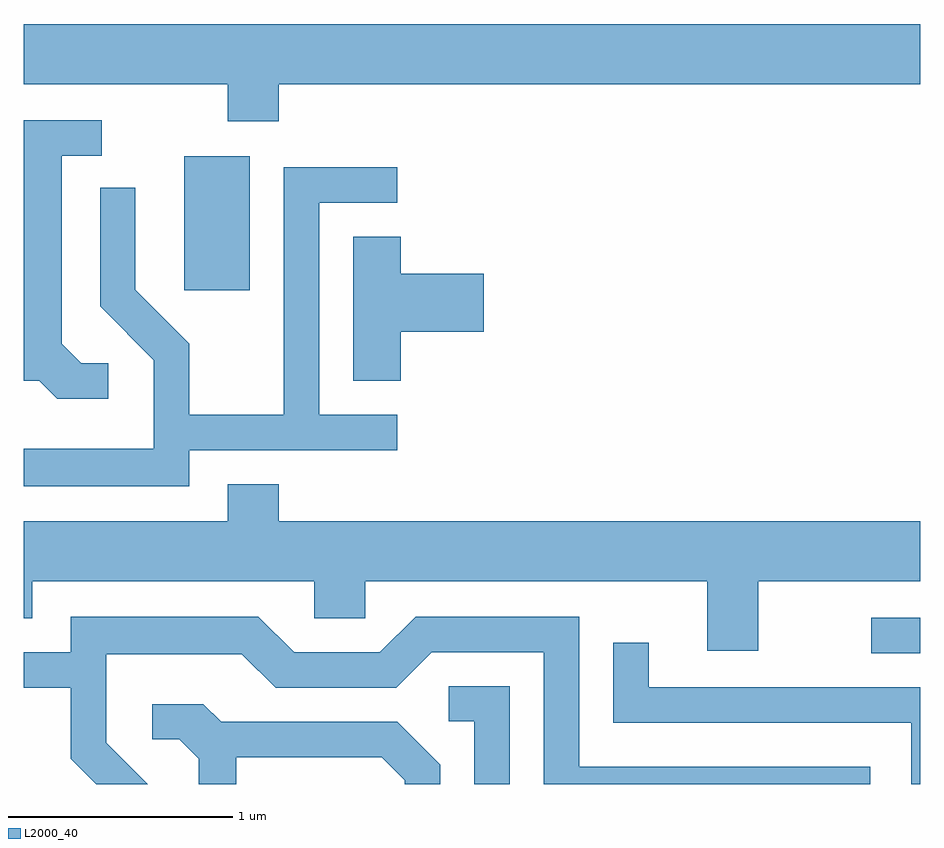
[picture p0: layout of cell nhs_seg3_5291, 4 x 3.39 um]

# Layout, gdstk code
import gdstk
lib = gdstk.Library(unit=1e-6, precision=1e-09)
def R(c, l, rs):  # rectangles x0, y0, x1, y1
    for r in rs: c.add(gdstk.rectangle(r[:2], r[2:], *l))
def P(c, l, *ps):  # polygons
    for p in ps: c.add(gdstk.Polygon(p, *l))
L2000_40 = (2000, 40)

nhs_seg3_5291 = lib.new_cell('nhs_seg3_5291')
R(nhs_seg3_5291, L2000_40, [(343.393,1234.476,343.611,1234.634), (340.326,1236.096,340.619,1236.694)])
P(nhs_seg3_5291, L2000_40, [(340.749,1237.016),(343.611,1237.016),(343.611,1237.284),(339.611,1237.284),(339.611,1237.016),(340.521,1237.016),(340.521,1236.851),(340.749,1236.851)],
  [(339.988,1235.769),(339.867,1235.769),(339.779,1235.857),(339.779,1236.696),(339.958,1236.696),(339.958,1236.854),(339.611,1236.854),(339.611,1235.691),(339.679,1235.691),(339.759,1235.611),(339.988,1235.611)],
  [(340.349,1235.381),(341.278,1235.381),(341.278,1235.539),(340.929,1235.539),(340.929,1236.486),(341.278,1236.486),(341.278,1236.644),(340.771,1236.644),(340.771,1235.539),(340.349,1235.539),(340.349,1235.857),(340.109,1236.097),(340.109,1236.553),(339.951,1236.553),(339.951,1236.024),(340.191,1235.784),(340.191,1235.389),(339.611,1235.389),(339.611,1235.221),(340.349,1235.221)],
  [(341.294,1235.911),(341.664,1235.911),(341.664,1236.169),(341.294,1236.169),(341.294,1236.334),(341.081,1236.334),(341.081,1235.691),(341.294,1235.691)],
  [(342.889,1234.796),(343.611,1234.796),(343.611,1235.064),(340.749,1235.064),(340.749,1235.229),(340.521,1235.229),(340.521,1235.064),(339.611,1235.064),(339.611,1234.631),(339.649,1234.631),(339.649,1234.796),(340.906,1234.796),(340.906,1234.631),(341.134,1234.631),(341.134,1234.796),(342.661,1234.796),(342.661,1234.486),(342.889,1234.486)],
  [(339.979,1234.077),(339.979,1234.471),(340.584,1234.471),(340.734,1234.321),(341.272,1234.321),(341.432,1234.481),(341.931,1234.481),(341.931,1233.892),(343.389,1233.892),(343.389,1233.969),(342.089,1233.969),(342.089,1234.639),(341.359,1234.639),(341.199,1234.479),(340.817,1234.479),(340.657,1234.639),(339.821,1234.639),(339.821,1234.479),(339.611,1234.479),(339.611,1234.321),(339.821,1234.321),(339.821,1234.004),(339.933,1233.892),(340.164,1233.892)],
  [(343.611,1234.324),(342.399,1234.324),(342.399,1234.523),(342.241,1234.523),(342.241,1234.166),(343.571,1234.166),(343.571,1233.892),(343.611,1233.892)],
  [(341.779,1234.329),(341.508,1234.329),(341.508,1234.171),(341.621,1234.171),(341.621,1233.892),(341.779,1233.892)],
  [(340.559,1234.011),(341.209,1234.011),(341.311,1233.909),(341.311,1233.892),(341.469,1233.892),(341.469,1233.977),(341.277,1234.169),(340.492,1234.169),(340.412,1234.249),(340.183,1234.249),(340.183,1234.091),(340.304,1234.091),(340.391,1234.004),(340.391,1233.892),(340.559,1233.892)])

lib.write_gds('nhs_seg3_5291.gds')
